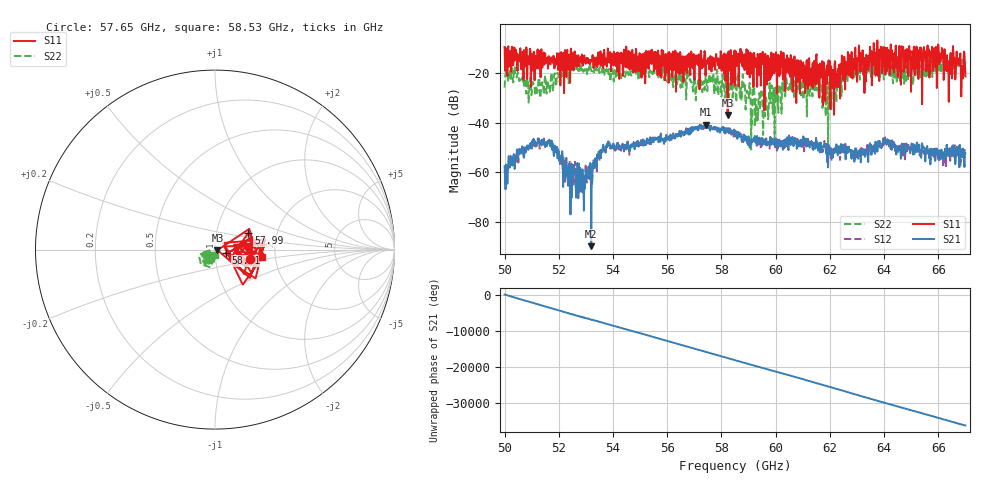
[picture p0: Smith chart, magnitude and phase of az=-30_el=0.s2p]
!Created with skrf (http://scikit-rf.org).
# GHz S RI R 50.0
!freq ReS11 ImS11 ReS21 ImS21 ReS12 ImS12 ReS22 ImS22
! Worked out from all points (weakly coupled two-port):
!   1001 points, 50 GHz to 67 GHz, reference 50 ohm
!   highest |S21| = -40.89 dB at 57.41 GHz (marker M1); lowest = -89.5 dB at 53.2 GHz (marker M2)
!   lowest |S11| = -36.9 dB at 58.23 GHz (marker M3), VSWR 1.03, Z = 51.4 - j0.327 ohm
!   |S11| at or under -10 dB: 50.8 GHz to 54.49 GHz (3.685 GHz wide, 7 % of centre); 54.49 GHz to 62.94 GHz (8.447 GHz wide, 14.4 % of centre); 66.01 GHz to 66.54 GHz (529.1 MHz wide, 0.798 % of centre) (the widest 3 of 29)
!   |S22| runs from -50.8 to -14.1 dB; largest |S21 - S12| = 0.0022
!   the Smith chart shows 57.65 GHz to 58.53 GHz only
!   S11 on the Smith chart (normalised r, x): 57.65 GHz: 1.47, -0.16; 57.99 GHz: 1.42, +0.28; 58.41 GHz: 1.13, -0.04; 58.53 GHz: 1.71, -0.15
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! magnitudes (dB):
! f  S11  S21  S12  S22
! 50 GHz  -9.7  -57.4  -59.1  -26.0
! 50.34 GHz  -12.9  -52.6  -53.8  -19.6
! 51.34 GHz  -11.8  -47.5  -47.5  -26.2
! 52.84 GHz  -13.3  -60.6  -62.2  -19.1
! 53.2 GHz  -15.6  -89.5  -65.9  -19.1
! 53.83 GHz  -13.0  -47.5  -47.6  -20.8
! 55.68 GHz  -13.6  -47.9  -46.9  -21.9
! 57.41 GHz  -21.2  -40.9  -41.2  -21.8
! 57.65 GHz  -13.9  -42.2  -41.9  -23.9
! 57.99 GHz  -13.6  -42.4  -42.7  -29.4
! 58.23 GHz  -36.9  -42.6  -43.5  -22.8
! 58.41 GHz  -24.0  -43.4  -43.7  -33.5
! 58.5 GHz  -25.2  -43.8  -44.6  -24.7
! 58.53 GHz  -11.5  -45.7  -45.1  -30.9
! 59.3 GHz  -15.6  -48.6  -49.3  -39.8
! 60.64 GHz  -14.6  -47.1  -46.8  -22.6
! 61.34 GHz  -25.5  -48.7  -48.7  -26.2
! 62 GHz  -15.4  -52.6  -50.1  -24.9
! 62.6 GHz  -19.0  -49.8  -53.6  -19.3
! 64.18 GHz  -18.1  -47.2  -47.8  -18.6
! 66.06 GHz  -15.8  -51.6  -51.1  -14.9
! 67 GHz  -21.5  -52.0  -50.3  -15.6
